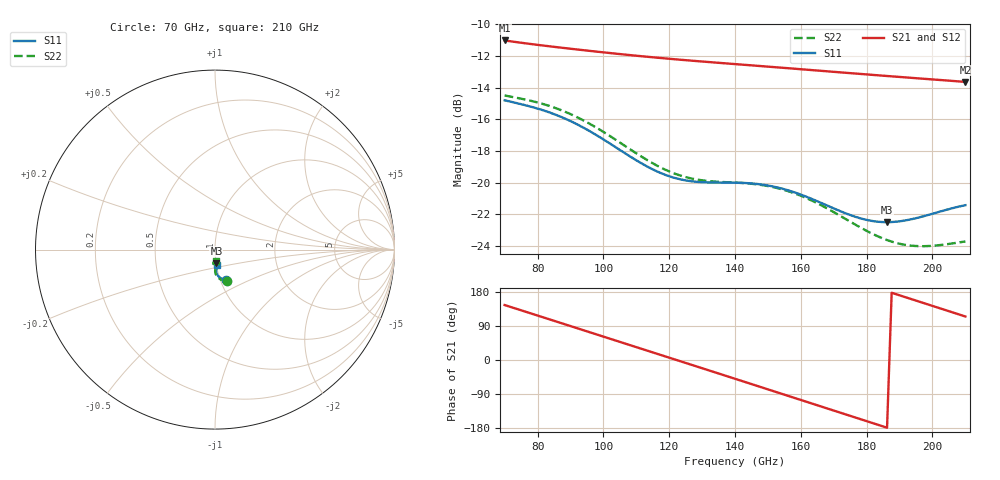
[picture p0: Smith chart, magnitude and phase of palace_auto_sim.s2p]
#  GHZ S DB R 50
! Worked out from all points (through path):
!   101 points, 70 GHz to 210 GHz, reference 50 ohm
!   highest |S21| = -11.01 dB at 70 GHz (marker M1); lowest = -13.6 dB at 210 GHz (marker M2)
!   group delay of S21, straight-line fit = 7.75 ps
!   lowest |S11| = -22.5 dB at 186.2 GHz (marker M3), VSWR 1.16, Z = 50.2 - j7.53 ohm
!   |S11| at or under -10 dB: start of sweep to end of sweep
!   |S22| runs from -24.0 to -14.5 dB; largest |S21 - S12| = 0
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70  -14.80 -70.7  -11.01 145.0  -11.01 145.0  -14.49 -69.7
77  -15.15 -73.5  -11.21 125.7  -11.21 125.7  -14.78 -72.9
82.6  -15.49 -76.5  -11.35 110.1  -11.35 110.1  -15.09 -76.2
88.2  -15.94 -79.7  -11.49 94.6  -11.49 94.6  -15.51 -79.9
93.8  -16.51 -82.7  -11.62 79.0  -11.62 79.0  -16.05 -83.5
99.4  -17.19 -85.2  -11.75 63.4  -11.75 63.4  -16.72 -86.5
106.4  -18.12 -86.8  -11.90 44.0  -11.90 44.0  -17.66 -89.0
112  -18.83 -86.6  -12.02 28.4  -12.02 28.4  -18.41 -89.6
117.6  -19.41 -85.5  -12.12 12.9  -12.12 12.9  -19.07 -89.1
123.2  -19.79 -83.8  -12.23 -2.7  -12.23 -2.7  -19.54 -87.9
128.8  -19.96 -82.4  -12.32 -18.3  -12.32 -18.3  -19.82 -86.7
140  -20.01 -82.4  -12.51 -49.5  -12.51 -49.5  -20.00 -86.7
147  -20.10 -84.3  -12.62 -69.1  -12.62 -69.1  -20.12 -88.7
152.6  -20.30 -86.3  -12.71 -84.7  -12.71 -84.7  -20.34 -91.0
158.2  -20.63 -88.1  -12.80 -100.4  -12.80 -100.4  -20.69 -93.4
163.8  -21.08 -89.4  -12.89 -116.1  -12.89 -116.1  -21.19 -95.5
175  -22.05 -88.7  -13.08 -147.4  -13.08 -147.4  -22.47 -97.0
180.6  -22.39 -86.6  -13.17 -163.0  -13.17 -163.0  -23.12 -95.8
186.2  -22.51 -84.0  -13.26 -178.7  -13.26 -178.7  -23.64 -93.4
187.6  -22.50 -83.4  -13.28 177.4  -13.28 177.4  -23.74 -92.6
197.4  -22.12 -80.7  -13.44 150.0  -13.44 150.0  -24.02 -87.2
210  -21.43 -82.5  -13.63 114.8  -13.63 114.8  -23.73 -83.3
